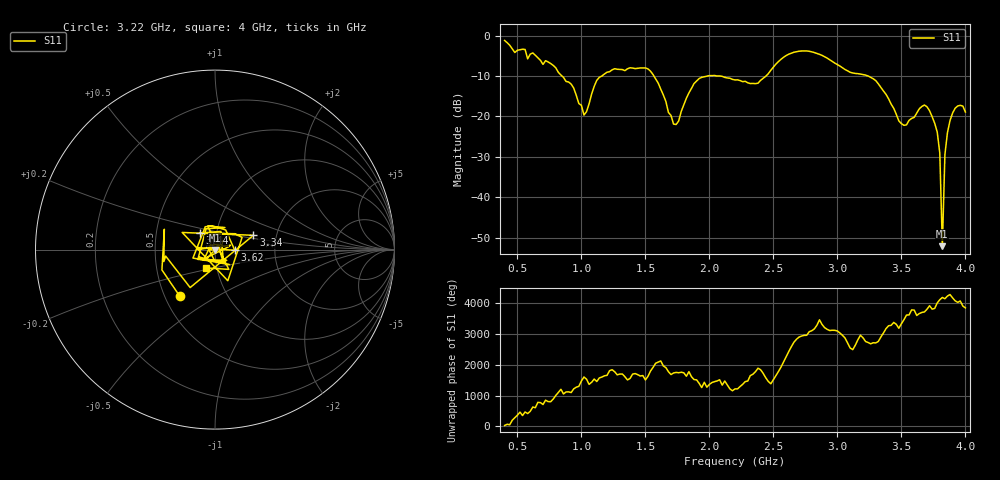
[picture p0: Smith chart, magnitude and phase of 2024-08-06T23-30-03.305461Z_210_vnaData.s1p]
!Created with skrf (http://scikit-rf.org).
# Hz S RI R 50.0
!freq ReS11 ImS11
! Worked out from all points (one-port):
!   181 points, 400 MHz to 4 GHz, reference 50 ohm
!   lowest |S11| = -52.1 dB at 3.82 GHz (marker M1), VSWR 1.00, Z = 49.8 - j0.166 ohm
!   |S11| at or under -10 dB: 1.567 GHz to 1.985 GHz (418.7 MHz wide, 23.6 % of centre); 2.085 GHz to 2.442 GHz (357.1 MHz wide, 15.8 % of centre); 3.241 GHz to end of sweep (the widest 3 of 4)
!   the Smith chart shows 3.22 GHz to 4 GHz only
!   S11 on the Smith chart (normalised r, x): 3.22 GHz: 0.60, -0.34; 3.34 GHz: 1.52, +0.26; 3.44 GHz: 0.83, +0.16; 3.62 GHz: 1.25, -0.01; 4 GHz: 0.89, -0.18
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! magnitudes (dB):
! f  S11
! 400 MHz  -1.2
! 860 MHz  -10.3
! 940 MHz  -13.0
! 1.02 GHz  -19.6
! 1.12 GHz  -11.1
! 1.3 GHz  -8.4
! 1.52 GHz  -8.2
! 1.72 GHz  -21.9
! 1.76 GHz  -21.1
! 1.92 GHz  -10.6
! 2.2 GHz  -11.0
! 2.38 GHz  -11.8
! 2.66 GHz  -4.1
! 3.1 GHz  -9.1
! 3.22 GHz  -9.8
! 3.34 GHz  -12.8
! 3.44 GHz  -18.0
! 3.5 GHz  -21.8
! 3.56 GHz  -21.0
! 3.62 GHz  -19.1
! 3.7 GHz  -17.6
! 3.78 GHz  -23.9
! 3.8 GHz  -29.0
! 3.82 GHz  -52.1
! 3.84 GHz  -29.4
! 3.86 GHz  -24.0
! 3.92 GHz  -18.0
! 4 GHz  -18.9
